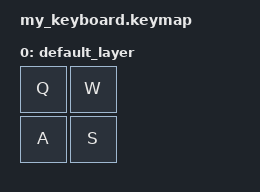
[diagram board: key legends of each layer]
#include <behaviors.dtsi>
#include <dt-bindings/zmk/keys.h>

/ {
    keymap {
        compatible = "zmk,keymap";

        default_layer {
            // Simple 2x2 key matrix for testing
            bindings = <
                &kp Q  &kp W
                &kp A  &kp S
            >;
        };
    };
};

